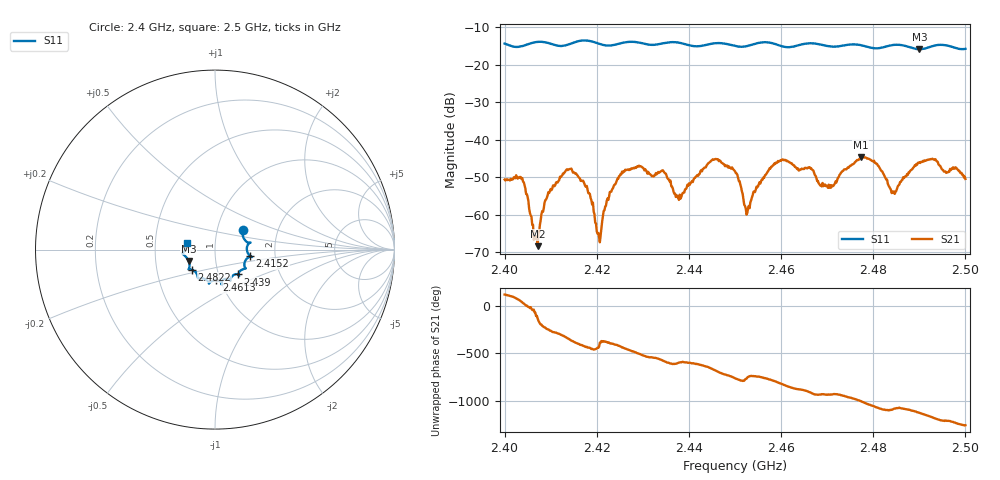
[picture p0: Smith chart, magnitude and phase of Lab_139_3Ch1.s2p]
# Hz S RI R 50
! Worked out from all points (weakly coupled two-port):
!   601 points, 2.4 GHz to 2.5 GHz, reference 50 ohm
!   highest |S21| = -44.66 dB at 2.4773 GHz (marker M1); lowest = -68.4 dB at 2.4072 GHz (marker M2)
!   lowest |S11| = -15.9 dB at 2.49 GHz (marker M3), VSWR 1.38, Z = 36.9 - j4.86 ohm
!   |S11| at or under -10 dB: start of sweep to end of sweep
!   S12 and S22 are empty: the file has one direction only
!   S11 on the Smith chart (normalised r, x): 2.4 GHz: 1.33, +0.31; 2.4152 GHz: 1.48, -0.11; 2.439 GHz: 1.24, -0.36; 2.4613 GHz: 0.96, -0.34; 2.4822 GHz: 0.76, -0.17; 2.5 GHz: 0.72, +0.05
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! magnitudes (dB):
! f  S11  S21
! 2.4 GHz  -14.4  -50.6
! 2.4038 GHz  -15.1  -50.2
! 2.4072 GHz  -13.9  -68.4
! 2.41 GHz  -14.4  -53.1
! 2.4152 GHz  -14.1  -48.8
! 2.4167 GHz  -13.6  -51.0
! 2.4205 GHz  -14.4  -66.0
! 2.4253 GHz  -14.3  -49.2
! 2.4333 GHz  -14.6  -48.6
! 2.439 GHz  -14.5  -54.1
! 2.4453 GHz  -14.3  -45.3
! 2.45 GHz  -15.0  -48.4
! 2.4527 GHz  -15.0  -59.5
! 2.4577 GHz  -14.2  -47.7
! 2.4613 GHz  -15.4  -45.6
! 2.4667 GHz  -14.3  -47.9
! 2.471 GHz  -15.2  -52.2
! 2.4773 GHz  -14.8  -44.7
! 2.4822 GHz  -15.4  -49.0
! 2.4833 GHz  -15.0  -52.2
! 2.49 GHz  -15.9  -46.0
! 2.5 GHz  -15.8  -50.5
